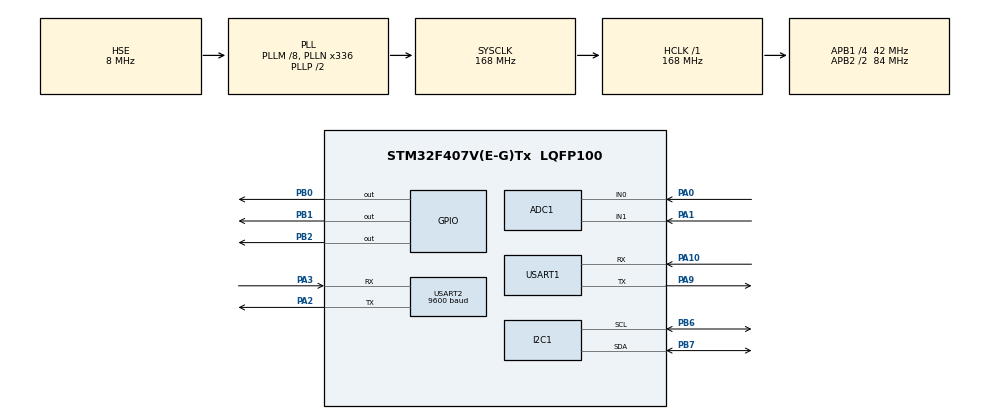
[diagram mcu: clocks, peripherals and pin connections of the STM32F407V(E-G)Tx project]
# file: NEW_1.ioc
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ADC1.Channel-1\#ChannelRegularConversion=ADC_CHANNEL_0
ADC1.ContinuousConvMode=ENABLE
ADC1.NbrOfConversionFlag=1
ADC1.Rank-1\#ChannelRegularConversion=1
ADC1.SamplingTime-1\#ChannelRegularConversion=ADC_SAMPLETIME_3CYCLES
ADC1.master=1
I2C1.I2C_Mode=I2C_Fast
Mcu.Family=STM32F4
Mcu.Name=STM32F407V(E-G)Tx
Mcu.Package=LQFP100
NVIC.ADC_IRQn=true\:0\:0\:false\:false\:true\:true\:true\:true
NVIC.PriorityGroup=NVIC_PRIORITYGROUP_0
NVIC.USART1_IRQn=true\:0\:0\:false\:false\:true\:true\:true\:true
NVIC.USART2_IRQn=true\:0\:0\:false\:false\:true\:true\:true\:true
PA0-WKUP.Signal=ADCx_IN0
PA1.Signal=ADCx_IN1
PA10.Mode=Asynchronous
PA10.Signal=USART1_RX
PA13.Mode=Serial_Wire
PA13.Signal=SYS_JTMS-SWDIO
PA14.Mode=Serial_Wire
PA14.Signal=SYS_JTCK-SWCLK
PA2.Mode=Asynchronous
PA2.Signal=USART2_TX
PA3.Mode=Asynchronous
PA3.Signal=USART2_RX
PA9.Mode=Asynchronous
PA9.Signal=USART1_TX
PB0.GPIO_ModeDefaultOutputPP=GPIO_MODE_OUTPUT_PP
PB0.GPIO_PuPd=GPIO_PULLUP
PB0.Signal=GPIO_Output
PB1.GPIO_ModeDefaultOutputPP=GPIO_MODE_OUTPUT_PP
PB1.GPIO_PuPd=GPIO_PULLUP
PB1.Signal=GPIO_Output
PB2.Signal=GPIO_Output
PB6.GPIO_Mode=GPIO_MODE_AF_OD
PB6.GPIO_Pu=GPIO_PULLUP
PB6.Mode=I2C
PB6.Signal=I2C1_SCL
PB7.GPIO_Mode=GPIO_MODE_AF_OD
PB7.GPIO_Pu=GPIO_PULLUP
PB7.Mode=I2C
PB7.Signal=I2C1_SDA
PH0-OSC_IN.Mode=HSE-External-Oscillator
PH0-OSC_IN.Signal=RCC_OSC_IN
PH1-OSC_OUT.Mode=HSE-External-Oscillator
PH1-OSC_OUT.Signal=RCC_OSC_OUT
ProjectManager.HeapSize=0x200
ProjectManager.StackSize=0x400
ProjectManager.TargetToolchain=STM32CubeIDE
RCC.48MHZClocksFreq_Value=48000000
RCC.AHBFreq_Value=168000000
RCC.APB1CLKDivider=RCC_HCLK_DIV4
RCC.APB1Freq_Value=42000000
RCC.APB1TimFreq_Value=84000000
RCC.APB2CLKDivider=RCC_HCLK_DIV2
RCC.APB2Freq_Value=84000000
RCC.APB2TimFreq_Value=168000000
RCC.CortexFreq_Value=168000000
RCC.HCLKFreq_Value=168000000
RCC.HSE_VALUE=8000000
RCC.HSI_VALUE=16000000
RCC.LSE_VALUE=32768
RCC.PLLM=8
RCC.PLLN=336
RCC.PLLQ=7
RCC.PLLSourceVirtual=RCC_PLLSOURCE_HSE
RCC.SYSCLKFreq_VALUE=168000000
RCC.SYSCLKSource=RCC_SYSCLKSOURCE_PLLCLK
RCC.VCOOutputFreq_Value=336000000
SH.ADCx_IN0.0=ADC1_IN0,IN0
SH.ADCx_IN1.0=ADC1_IN1,IN1
USART1.VirtualMode=VM_ASYNC
USART2.BaudRate=9600
USART2.VirtualMode=VM_ASYNC
board=STM32F407G-DISC1

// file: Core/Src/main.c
/* USER CODE BEGIN Header */
/**
  ******************************************************************************
  * @file           : main.c
  * @brief          : Main program body
  ******************************************************************************
  * @attention
  *
  * Copyright (c) 2024 STMicroelectronics.
  * All rights reserved.
  *
  * This software is licensed under terms that can be found in the LICENSE file
  * in the root directory of this software component.
  * If no LICENSE file comes with this software, it is provided AS-IS.
  *
  ******************************************************************************
  */
/* USER CODE END Header */
#include "main.h"

/* USER CODE BEGIN Includes */
#include "ssd1306.h"
#include "ssd1306_fonts.h"
#include "mq135.h"
#include "ky037.h"
#include "esp01.h"
#define WIFI_SSID "srujan"
#define WIFI_PASSWORD "srujan07"
#define THINGSPEAK_API_KEY "2CM15K1Y3Y2TN0X8"
#define AQI_THRESHOLD 400
#define NOISE_THRESHOLD 80

/* USER CODE END Includes */

ADC_HandleTypeDef hadc1;

I2C_HandleTypeDef hi2c1;

UART_HandleTypeDef huart1;
UART_HandleTypeDef huart2;

void SystemClock_Config(void);
static void MX_GPIO_Init(void);
static void MX_I2C1_Init(void);
static void MX_ADC1_Init(void);
static void MX_USART2_UART_Init(void);
static void MX_USART1_UART_Init(void);

int main(void)
{

  /* MCU Configuration--------------------------------------------------------*/

  /* Reset of all peripherals, Initializes the Flash interface and the Systick. */
  HAL_Init();

  /* Configure the system clock */
  SystemClock_Config();

  /* Initialize all configured peripherals */
  MX_GPIO_Init();
  MX_I2C1_Init();
  MX_ADC1_Init();
  MX_USART2_UART_Init();
  MX_USART1_UART_Init();
  /* USER CODE BEGIN 2 */
  MQ135_Init(&hadc1);
     KY037_Init(&hadc1);
     ssd1306_Init();
  /* USER CODE END 2 */

  /* Infinite loop */
  while (1)
  {

    /* USER CODE BEGIN 3 */
	  // Simulate high AQI and noise levels
	  // Simulate high AQI and noise levels
	  // Start ADC conversion for both AQI and noise level
	      HAL_ADC_Start(&hadc1);
	      HAL_ADC_PollForConversion(&hadc1, HAL_MAX_DELAY);
	      float aqi = MQ135_ReadPPM();  // Get AQI
	      float noise_level = KY037_ReadDecibels();  // Get noise level

	      // Debugging prints for verification
	      printf("Air Quality: %.2f, Noise Level: %.2f dB\n", aqi, noise_level);

	      // Display AQI and Noise Level on OLED

	      ssd1306_SetCursor(2,0);  // New line for noise level
	      ssd1306_WriteString("Noise Level: ", Font_6x8, White);
	      char noise_str[10];
	      sprintf(noise_str, "%.2f dB", noise_level);
	      ssd1306_WriteString(noise_str, Font_6x8, White);
	      ssd1306_UpdateScreen();
	      HAL_Delay(2000);

	      // Buzzer control based on AQI and Noise levels
	      if (noise_level > NOISE_THRESHOLD) {
	          HAL_GPIO_WritePin(GPIOB, GPIO_PIN_0, GPIO_PIN_SET);  // Turn on buzzer
	          HAL_GPIO_WritePin(GPIOB, GPIO_PIN_1, GPIO_PIN_SET);
	          HAL_GPIO_WritePin(GPIOB,GPIO_PIN_2,GPIO_PIN_RESET);// Optional
	      }
	      else {
	          HAL_GPIO_WritePin(GPIOB, GPIO_PIN_0, GPIO_PIN_RESET);  // Turn off buzzer
	          HAL_GPIO_WritePin(GPIOB, GPIO_PIN_1, GPIO_PIN_RESET);
	          HAL_GPIO_WritePin(GPIOB,GPIO_PIN_2,GPIO_PIN_SET);
	          HAL_Delay(1000);
	      }
	        // Delay before next reading

	      char uart_buffer[50];
	      char alert[50];
	      char good[50];

	      // Display AQI separately
	      sprintf(uart_buffer, "AQI: %.2f\n", aqi);
	      HAL_UART_Transmit(&huart2, (uint8_t*)uart_buffer, strlen(uart_buffer), HAL_MAX_DELAY);
	      sprintf(uart_buffer, "Noise Level: %.2f dB\n", noise_level);
	      HAL_UART_Transmit(&huart2, (uint8_t*)uart_buffer, strlen(uart_buffer), HAL_MAX_DELAY);
	      if (aqi > AQI_THRESHOLD || noise_level > NOISE_THRESHOLD) {
	    	  sprintf(alert, "Warning!! Bad Air Quality Stay Safe\n" );
	    	  HAL_UART_Transmit(&huart2, (uint8_t*)alert, strlen(alert), HAL_MAX_DELAY);
	      	      }
	      else {
	      	    	sprintf(good, "Good Air Quality Have a great day\n" );
	      	    	HAL_UART_Transmit(&huart2, (uint8_t*)good, strlen(good), HAL_MAX_DELAY);
	      	        HAL_Delay(2000);
	      	      }
	      ESP_SendData(&huart2, THINGSPEAK_API_KEY, aqi, noise_level);
	  }
  }
  /* USER CODE END 3 */

void SystemClock_Config(void)
{
  RCC_OscInitTypeDef RCC_OscInitStruct = {0};
  RCC_ClkInitTypeDef RCC_ClkInitStruct = {0};

  /** Configure the main internal regulator output voltage
  */
  __HAL_RCC_PWR_CLK_ENABLE();
  __HAL_PWR_VOLTAGESCALING_CONFIG(PWR_REGULATOR_VOLTAGE_SCALE1);

  /** Initializes the RCC Oscillators according to the specified parameters
  * in the RCC_OscInitTypeDef structure.
  */
  RCC_OscInitStruct.OscillatorType = RCC_OSCILLATORTYPE_HSE;
  RCC_OscInitStruct.HSEState = RCC_HSE_ON;
  RCC_OscInitStruct.PLL.PLLState = RCC_PLL_ON;
  RCC_OscInitStruct.PLL.PLLSource = RCC_PLLSOURCE_HSE;
  RCC_OscInitStruct.PLL.PLLM = 8;
  RCC_OscInitStruct.PLL.PLLN = 336;
  RCC_OscInitStruct.PLL.PLLP = RCC_PLLP_DIV2;
  RCC_OscInitStruct.PLL.PLLQ = 7;
  if (HAL_RCC_OscConfig(&RCC_OscInitStruct) != HAL_OK)
  {
    Error_Handler();
  }

  /** Initializes the CPU, AHB and APB buses clocks
  */
  RCC_ClkInitStruct.ClockType = RCC_CLOCKTYPE_HCLK|RCC_CLOCKTYPE_SYSCLK
                              |RCC_CLOCKTYPE_PCLK1|RCC_CLOCKTYPE_PCLK2;
  RCC_ClkInitStruct.SYSCLKSource = RCC_SYSCLKSOURCE_PLLCLK;
  RCC_ClkInitStruct.AHBCLKDivider = RCC_SYSCLK_DIV1;
  RCC_ClkInitStruct.APB1CLKDivider = RCC_HCLK_DIV4;
  RCC_ClkInitStruct.APB2CLKDivider = RCC_HCLK_DIV2;

  if (HAL_RCC_ClockConfig(&RCC_ClkInitStruct, FLASH_LATENCY_5) != HAL_OK)
  {
    Error_Handler();
  }
}

static void MX_ADC1_Init(void)
{

  ADC_ChannelConfTypeDef sConfig = {0};

  /** Configure the global features of the ADC (Clock, Resolution, Data Alignment and number of conversion)
  */
  hadc1.Instance = ADC1;
  hadc1.Init.ClockPrescaler = ADC_CLOCK_SYNC_PCLK_DIV4;
  hadc1.Init.Resolution = ADC_RESOLUTION_12B;
  hadc1.Init.ScanConvMode = DISABLE;
  hadc1.Init.ContinuousConvMode = ENABLE;
  hadc1.Init.DiscontinuousConvMode = DISABLE;
  hadc1.Init.ExternalTrigConvEdge = ADC_EXTERNALTRIGCONVEDGE_NONE;
  hadc1.Init.ExternalTrigConv = ADC_SOFTWARE_START;
  hadc1.Init.DataAlign = ADC_DATAALIGN_RIGHT;
  hadc1.Init.NbrOfConversion = 1;
  hadc1.Init.DMAContinuousRequests = DISABLE;
  hadc1.Init.EOCSelection = ADC_EOC_SINGLE_CONV;
  if (HAL_ADC_Init(&hadc1) != HAL_OK)
  {
    Error_Handler();
  }

  /** Configure for the selected ADC regular channel its corresponding rank in the sequencer and its sample time.
  */
  sConfig.Channel = ADC_CHANNEL_0;
  sConfig.Rank = 1;
  sConfig.SamplingTime = ADC_SAMPLETIME_3CYCLES;
  if (HAL_ADC_ConfigChannel(&hadc1, &sConfig) != HAL_OK)
  {
    Error_Handler();
  }

}

static void MX_I2C1_Init(void)
{

  hi2c1.Instance = I2C1;
  hi2c1.Init.ClockSpeed = 400000;
  hi2c1.Init.DutyCycle = I2C_DUTYCYCLE_2;
  hi2c1.Init.OwnAddress1 = 0;
  hi2c1.Init.AddressingMode = I2C_ADDRESSINGMODE_7BIT;
  hi2c1.Init.DualAddressMode = I2C_DUALADDRESS_DISABLE;
  hi2c1.Init.OwnAddress2 = 0;
  hi2c1.Init.GeneralCallMode = I2C_GENERALCALL_DISABLE;
  hi2c1.Init.NoStretchMode = I2C_NOSTRETCH_DISABLE;
  if (HAL_I2C_Init(&hi2c1) != HAL_OK)
  {
    Error_Handler();
  }

}

static void MX_USART1_UART_Init(void)
{

  huart1.Instance = USART1;
  huart1.Init.BaudRate = 115200;
  huart1.Init.WordLength = UART_WORDLENGTH_8B;
  huart1.Init.StopBits = UART_STOPBITS_1;
  huart1.Init.Parity = UART_PARITY_NONE;
  huart1.Init.Mode = UART_MODE_TX_RX;
  huart1.Init.HwFlowCtl = UART_HWCONTROL_NONE;
  huart1.Init.OverSampling = UART_OVERSAMPLING_16;
  if (HAL_UART_Init(&huart1) != HAL_OK)
  {
    Error_Handler();
  }

}

static void MX_USART2_UART_Init(void)
{

  huart2.Instance = USART2;
  huart2.Init.BaudRate = 9600;
  huart2.Init.WordLength = UART_WORDLENGTH_8B;
  huart2.Init.StopBits = UART_STOPBITS_1;
  huart2.Init.Parity = UART_PARITY_NONE;
  huart2.Init.Mode = UART_MODE_TX_RX;
  huart2.Init.HwFlowCtl = UART_HWCONTROL_NONE;
  huart2.Init.OverSampling = UART_OVERSAMPLING_16;
  if (HAL_UART_Init(&huart2) != HAL_OK)
  {
    Error_Handler();
  }

}

static void MX_GPIO_Init(void)
{
  GPIO_InitTypeDef GPIO_InitStruct = {0};

  /* GPIO Ports Clock Enable */
  __HAL_RCC_GPIOH_CLK_ENABLE();
  __HAL_RCC_GPIOA_CLK_ENABLE();
  __HAL_RCC_GPIOB_CLK_ENABLE();

  /*Configure GPIO pin Output Level */
  HAL_GPIO_WritePin(GPIOB, GPIO_PIN_0|GPIO_PIN_1|GPIO_PIN_2, GPIO_PIN_RESET);

  /*Configure GPIO pins : PB0 PB1 */
  GPIO_InitStruct.Pin = GPIO_PIN_0|GPIO_PIN_1;
  GPIO_InitStruct.Mode = GPIO_MODE_OUTPUT_PP;
  GPIO_InitStruct.Pull = GPIO_PULLUP;
  GPIO_InitStruct.Speed = GPIO_SPEED_FREQ_LOW;
  HAL_GPIO_Init(GPIOB, &GPIO_InitStruct);

  /*Configure GPIO pin : PB2 */
  GPIO_InitStruct.Pin = GPIO_PIN_2;
  GPIO_InitStruct.Mode = GPIO_MODE_OUTPUT_PP;
  GPIO_InitStruct.Pull = GPIO_NOPULL;
  GPIO_InitStruct.Speed = GPIO_SPEED_FREQ_LOW;
  HAL_GPIO_Init(GPIOB, &GPIO_InitStruct);

}

void Error_Handler(void)
{
  __disable_irq();
  while (1)
  {
  }
}
